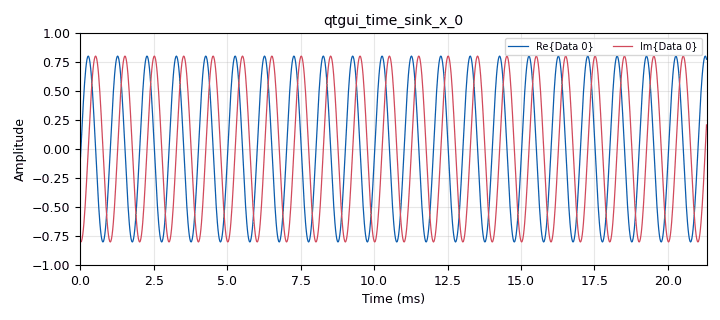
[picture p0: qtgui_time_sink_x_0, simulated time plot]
options:
  parameters:
    catch_exceptions: 'False'
    generate_options: qt_gui
    id: PF_2019
    output_language: python
    realtime_scheduling: '1'
    title: Sampling de un tono
  states: {}

blocks:
- name: Frecuencia
  id: variable_qtgui_range
  parameters:
    gui_hint: 0,4,1,2
    label: 'Frecuencia [Hz]: '
    start: '100'
    step: '100'
    stop: '8000'
    value: '1000'
  states: {}
- name: samp_rate
  id: variable
  parameters:
    value: '48000'
  states: {}
- name: samp_rate_qtgui_label
  id: variable_qtgui_label
  parameters:
    gui_hint: 0,0,1,2
    label: 'Sample rate [m/Sg.]: '
    type: int
    value: samp_rate
  states: {}
- name: valor
  id: variable_qtgui_range
  parameters:
    gui_hint: 0,2,1,2
    label: 'Amplitud: '
    start: '0'
    step: '0.1'
    stop: '2'
    value: '0.8'
  states: {}
- name: analog_sig_source_x_0
  id: analog_sig_source_x
  parameters:
    amp: valor
    freq: Frecuencia
    offset: '0'
    phase: '0'
    samp_rate: samp_rate
    type: complex
    waveform: analog.GR_SIN_WAVE
  states: {}
- name: qtgui_time_sink_x_0
  id: qtgui_time_sink_x
  parameters:
    ctrlpanel: 'True'
    gui_hint: 1,0,6,7
    size: '1024'
    srate: samp_rate
    tr_mode: qtgui.TRIG_MODE_AUTO
    type: complex
  states: {}
- name: serializer_serializer_0
  id: serializer_serializer
  parameters:
    board: 'True'
    device: '"/dev/ttyUSB1"'
    input_type: complex
    mode: data
    samp_rate: samp_rate
    vref: '2'
  states: {}

connections:
- [analog_sig_source_x_0, '0', qtgui_time_sink_x_0, '0']
- [analog_sig_source_x_0, '0', serializer_serializer_0, '0']

metadata:
  file_format: 1
  grc_version: 3.10.9.2
